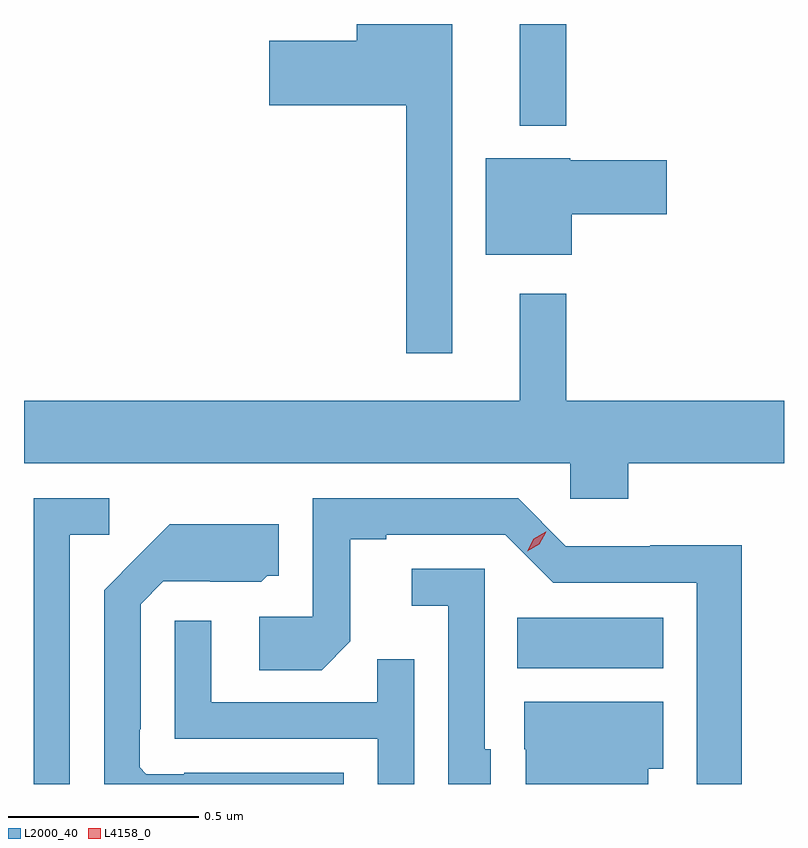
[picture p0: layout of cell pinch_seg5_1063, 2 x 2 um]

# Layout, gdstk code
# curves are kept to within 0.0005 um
import gdstk
lib = gdstk.Library(unit=1e-6, precision=1e-09)
def R(c, l, rs):  # rectangles x0, y0, x1, y1
    for r in rs: c.add(gdstk.rectangle(r[:2], r[2:], *l))
def P(c, l, *ps):  # polygons
    for p in ps: c.add(gdstk.Polygon(p, *l))
L2000_40 = (2000, 40)
L4158_0 = (4158, 0)

pinch_seg5_1063 = lib.new_cell('pinch_seg5_1063')
R(pinch_seg5_1063, L2000_40, [(712.792,840.236,713.176,840.37), (712.799,841.664,712.921,841.932)])
P(pinch_seg5_1063, L2000_40, [(712.621,841.932),(712.37,841.932),(712.37,841.888),(712.14,841.888),(712.14,841.718),(712.5,841.718),(712.5,841.065),(712.621,841.065)],
  [(712.936,841.432),(713.185,841.432),(713.185,841.574),(712.932,841.574),(712.932,841.579),(712.709,841.579),(712.709,841.325),(712.936,841.325)],
  [(713.084,840.776),(713.494,840.776),(713.494,840.94),(712.921,840.94),(712.921,841.222),(712.799,841.222),(712.799,840.94),(711.494,840.94),(711.494,840.776),(712.932,840.776),(712.932,840.683),(713.084,840.683)],
  [(711.615,840.588),(711.718,840.588),(711.718,840.684),(711.519,840.684),(711.519,839.932),(711.615,839.932)],
  [(713.383,840.56),(713.142,840.56),(713.142,840.558),(712.92,840.558),(712.794,840.684),(712.254,840.684),(712.254,840.372),(712.113,840.372),(712.113,840.232),(712.277,840.232),(712.353,840.308),(712.353,840.576),(712.447,840.576),(712.447,840.588),(712.761,840.588),(712.887,840.462),(713.264,840.462),(713.264,839.932),(713.383,839.932)],
  [(712.336,839.962),(711.916,839.962),(711.916,839.958),(711.816,839.958),(711.798,839.976),(711.798,840.076),(711.801,840.076),(711.801,840.405),(711.861,840.465),(711.984,840.465),(711.984,840.464),(712.118,840.464),(712.134,840.48),(712.165,840.48),(712.165,840.616),(711.877,840.616),(711.705,840.442),(711.705,839.932),(712.336,839.932)],
  [(712.722,840.024),(712.707,840.024),(712.707,840.498),(712.515,840.498),(712.515,840.401),(712.611,840.401),(712.611,839.932),(712.722,839.932)],
  [(712.521,840.26),(712.423,840.26),(712.423,840.147),(711.987,840.147),(711.987,840.361),(711.891,840.361),(711.891,840.051),(712.425,840.051),(712.425,839.932),(712.521,839.932)],
  [(713.137,839.972),(713.176,839.972),(713.176,840.148),(712.811,840.148),(712.811,840.024),(712.815,840.024),(712.815,839.932),(713.137,839.932)])
P(pinch_seg5_1063, L4158_0, [(712.818,840.544),(712.818,840.545),(712.836,840.577),(712.867,840.596),(712.868,840.596),(712.868,840.596),(712.85,840.563),(712.818,840.544)])

lib.write_gds('pinch_seg5_1063.gds')
